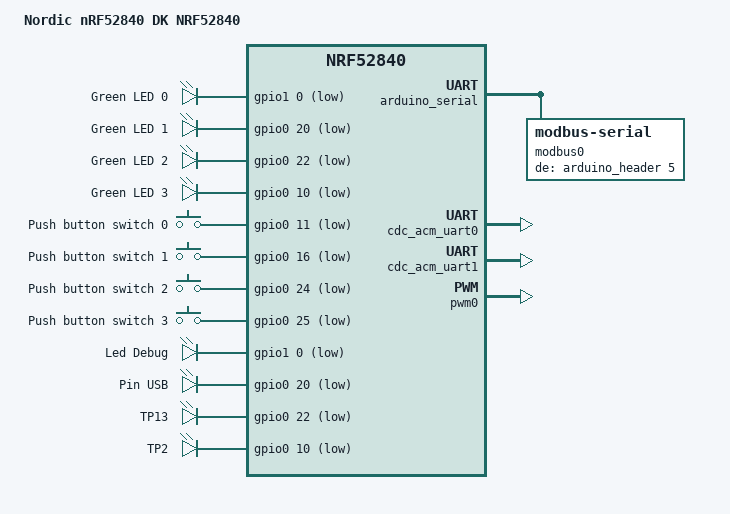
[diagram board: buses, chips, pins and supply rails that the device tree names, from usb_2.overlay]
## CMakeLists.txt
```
# SPDX-License-Identifier: Apache-2.0

cmake_minimum_required(VERSION 3.20.0)

set(DTC_OVERLAY_FILE "sca3504.overlay")
#project("SCA3504" VERSION 0.1)


find_package(Zephyr REQUIRED HINTS $ENV{ZEPHYR_BASE})
project(modbus-rtu-client)

FILE(GLOB app_sources src/*.c)
target_sources(app PRIVATE ${app_sources})
```

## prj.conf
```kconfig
CONFIG_LOG=y

CONFIG_GPIO=y
CONFIG_SERIAL=y
CONFIG_UART_INTERRUPT_DRIVEN=y
#CONFIG_UART_LINE_CTRL=n

CONFIG_MODBUS=y
CONFIG_MODBUS_ROLE_CLIENT=y

# Enable the UART driver
CONFIG_UART_ASYNC_API=y
CONFIG_UART_LINE_CTRL=y
CONFIG_UART_INTERRUPT_DRIVEN=y

# Disable the UARTE0 enabled in default project configuration
CONFIG_UART_NRFX=y

# uart MODBUS moteur
CONFIG_NRFX_UARTE0=y
# uart de debug
CONFIG_NRFX_UARTE1=y

CONFIG_PWM=y
CONFIG_LED=y

CONFIG_HEAP_MEM_POOL_SIZE=4096
CONFIG_MAIN_STACK_SIZE=2048

# Enable DK LED and Buttons library
CONFIG_DK_LIBRARY=y

# Config logger
CONFIG_LOG=y
#CONFIG_USE_SEGGER_RTT=y
#CONFIG_LOG_BACKEND_RTT=y
#CONFIG_ASSERT=y
CONFIG_LOG_BACKEND_UART=y


#USB related configs
CONFIG_USB_DEVICE_STACK=y
CONFIG_USB_DEVICE_HID=y
CONFIG_USB_DEVICE_PRODUCT="SCANCUBE-TURNTABLE-V3"
CONFIG_USB_DEVICE_VID=0x04b4
CONFIG_USB_DEVICE_PID=0xF14C
#CONFIG_USB_DEVICE_PID=0xF14D
CONFIG_USB_HID_BOOT_PROTOCOL=y
#CONFIG_USB_DEVICE_INITIALIZE_AT_BOOT=n
CONFIG_USB_NUMOF_EP_WRITE_RETRIES=10
CONFIG_USB_DEVICE_SOF=y

CONFIG_ENABLE_HID_INT_OUT_EP=y
CONFIG_USB_DRIVER_LOG_LEVEL_INF=y
#CONFIG_USB_DRIVER_LOG_LEVEL_ERR=y
CONFIG_USB_DEVICE_LOG_LEVEL_INF=y
#CONFIG_USB_DEVICE_LOG_LEVEL_ERR=y

# NVS
#CONFIG_FLASH=y
#CONFIG_FLASH_PAGE_LAYOUT=y

#CONFIG_NVS=y
#CONFIG_LOG_MODE_IMMEDIATE=y
#CONFIG_NVS_LOG_LEVEL_DBG=y
#CONFIG_REBOOT=y
#CONFIG_MPU_ALLOW_FLASH_WRITE=y

# bluetooth
CONFIG_BT=y
CONFIG_BT_CENTRAL=y
CONFIG_BT_SMP=y
CONFIG_BT_GATT_CLIENT=y

CONFIG_BT_BUF_ACL_RX_SIZE=255
CONFIG_BT_BUF_ACL_TX_SIZE=251
CONFIG_BT_BUF_CMD_TX_SIZE=255
CONFIG_BT_BUF_EVT_DISCARDABLE_SIZE=255

CONFIG_BT_L2CAP_TX_MTU=247

CONFIG_BT_DEBUG_LOG=y
CONFIG_BT_SCAN=y

CONFIG_BT_FILTER_ACCEPT_LIST=y

CONFIG_BT_SCAN_NAME_MAX_LEN=32
CONFIG_BT_SCAN_SHORT_NAME_MAX_LEN=32
CONFIG_BT_SCAN_FILTER_ENABLE=y
CONFIG_BT_SCAN_MANUFACTURER_DATA_MAX_LEN=32
CONFIG_BT_SCAN_UUID_CNT=1
CONFIG_BT_SCAN_NAME_CNT=1
CONFIG_BT_SCAN_SHORT_NAME_CNT=0
CONFIG_BT_SCAN_ADDRESS_CNT=0
CONFIG_BT_SCAN_APPEARANCE_CNT=0
CONFIG_BT_SCAN_MANUFACTURER_DATA_CNT=0


CONFIG_BOARD_ENABLE_DCDC=y
CONFIG_BOARD_ENABLE_DCDC_HV=y

CONFIG_BT_GATT_CLIENT=y
CONFIG_BT_GATT_DM=y

CONFIG_BT_HRS=y
CONFIG_BT_HRS_CLIENT=y


CONFIG_NCS_SAMPLES_DEFAULTS=y

CONFIG_BT=y
CONFIG_BT_PERIPHERAL=y
CONFIG_BT_CENTRAL=y
CONFIG_BT_MAX_CONN=2
CONFIG_BT_MAX_PAIRED=2

CONFIG_BT_SMP=y

CONFIG_BT_SCAN=y
CONFIG_BT_SCAN_FILTER_ENABLE=y
CONFIG_BT_SCAN_UUID_CNT=1

CONFIG_BT_GATT_CLIENT=y
CONFIG_BT_GATT_DM=y

CONFIG_BT_HRS=y
CONFIG_BT_HRS_CLIENT=y

#CONFIG_BT_SETTINGS=y
#CONFIG_FLASH=y
#CONFIG_FLASH_PAGE_LAYOUT=y
#CONFIG_FLASH_MAP=y
#CONFIG_NVS=y
#CONFIG_SETTINGS=y

#CONFIG_HEAP_MEM_POOL_SIZE=1024

#CONFIG_DK_LIBRARY=y
```

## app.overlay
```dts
/*
 * Copyright (c) 2020 Phytec Messtechnik GmbH
 *
 * SPDX-License-Identifier: Apache-2.0
 */

 / {
	model = "Nordic nRF52840 DK NRF52840";
	compatible = "nordic,nrf52840-dk-nrf52840";

	chosen {
		zephyr,console = &cdc_acm_uart0;
		nordic,nus-uart = &cdc_acm_uart0;
	};

	leds {
		compatible = "gpio-leds";
	    status = "okay";
		led0: led_0 {
			gpios = <&gpio1 0 GPIO_ACTIVE_LOW>;
			label = "LED DEBUG";
		};
		led1: led_1 {
			gpios = <&gpio0 29 GPIO_ACTIVE_LOW>;
			label = "LED USB";
		};
	};

	buttons {
		compatible = "gpio-keys";
		button0: button_0 {
			gpios = <&gpio0 13 (GPIO_PULL_UP | GPIO_ACTIVE_LOW)>;
			label = "Push button SHUTTER";
		};
		button1: button_1 {
			gpios = <&gpio0 15 (GPIO_PULL_UP | GPIO_ACTIVE_LOW)>;
			label = "Push button FOCUS";
		};
	};

	aliases {
        led0 = &led0;
        led1 = &led1;
		sw0 = &button0;
		sw1 = &button1;
    };

};

&arduino_serial {
	compatible = "nordic,nrf-uarte";
	pinctrl-0 = <&uart1_default>;
	pinctrl-1 = <&uart1_sleep>;
	status = "okay";

	modbus0 {
		compatible = "zephyr,modbus-serial";
		status = "okay";
		de-gpios = <&arduino_header 5 GPIO_ACTIVE_HIGH>;	/* A5 */
	};
};

&uart1_default {
	group1 {
		psels = <NRF_PSEL(UART_RX, 1, 9)>;
	};
	group2 {
		psels = <NRF_PSEL(UART_TX, 0, 12)>;
	};
};

&uart1_sleep {
	group1 {
		psels = <NRF_PSEL(UART_RX, 1, 1)>,
		<NRF_PSEL(UART_RX, 1, 2)>;
	};
};

&pwm0 {
	compatible = "nordic,nrf-pwm";
	status = "okay";
	#pwm-cells = < 3 >;
	pinctrl-0 = <&pwm0_default>;

};

&pwm0_default {
	group1 {
		psels = <NRF_PSEL(PWM_OUT0, 0, 24)>;
		nordic,invert;
	};
	group2 {
		psels = <NRF_PSEL(PWM_OUT0, 0, 24)>;
		nordic,invert;
	};
};

&zephyr_udc0 {
	cdc_acm_uart0: cdc_acm_uart0 {
		compatible = "zephyr,cdc-acm-uart";
	};
};
```

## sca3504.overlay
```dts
/*
 * Copyright (c) 2020 Phytec Messtechnik GmbH
 *
 * SPDX-License-Identifier: Apache-2.0
 */

 / {
	model = "Nordic nRF52840 DK NRF52840";
	compatible = "nordic,nrf52840-dk-nrf52840";

	chosen {
		zephyr,console = &uart0;
	};

	leds {
		compatible = "gpio-leds";
		led0: led_0 {
			gpios = <&gpio1 0 GPIO_ACTIVE_LOW>;
			label = "Led Debug";
		};
		led1: led_1 {
			gpios = <&gpio0 20 GPIO_ACTIVE_LOW>;
			label = "Pin USB";
		};
		led2: led_2 {
			gpios = <&gpio0 22 GPIO_ACTIVE_LOW>;
			label = "TP13";
		};
		led3: led_3 {
			gpios = <&gpio0 10 GPIO_ACTIVE_LOW>;
			label = "TP2";
		};
	};

	buttons {
		compatible = "gpio-keys";
		button0: button_0 {
			gpios = <&gpio0 11 (GPIO_PULL_UP | GPIO_ACTIVE_LOW)>;
			label = "Push button switch 0";
		};
		button1: button_1 {
			gpios = <&gpio0 16 (GPIO_PULL_UP | GPIO_ACTIVE_LOW)>;
			label = "Push button switch 1";
		};
		button2: button_2 {
			gpios = <&gpio0 24 (GPIO_PULL_UP | GPIO_ACTIVE_LOW)>;
			label = "Push button switch 2";
		};
		button3: button_3 {
			gpios = <&gpio0 25 (GPIO_PULL_UP | GPIO_ACTIVE_LOW)>;
			label = "Push button switch 3";
		};
	};
	
	pwmleds {
		compatible = "pwm-leds";
		pwm_led0: pwm_led_0 {
			pwms = <&pwm0 0 PWM_KHZ(50) PWM_POLARITY_NORMAL>;
		};
	};

	/* These aliases are provided for compatibility with samples */
	aliases {
		led0 = &led0;
		led1 = &led1;
		led2 = &led2;
		led3 = &led3;
		pwm-led0 = &pwm_led0;
		sw0 = &button0;
		sw1 = &button1;
		sw2 = &button2;
		sw3 = &button3;
	};
};

&arduino_serial {
	compatible = "nordic,nrf-uarte";
	pinctrl-0 = <&uart1_default>;
	pinctrl-1 = <&uart1_sleep>;
	status = "okay";

	modbus0 {
		compatible = "zephyr,modbus-serial";
		status = "okay";
		de-gpios = <&arduino_header 5 GPIO_ACTIVE_HIGH>;	/* A5 */
	};
};

&zephyr_udc0 {
	cdc_acm_uart0 {
		compatible = "zephyr,cdc-acm-uart";
	};

	cdc_acm_uart1 {
		compatible = "zephyr,cdc-acm-uart";
	};
};


&pwm0 {
	compatible = "nordic,nrf-pwm";
	status = "okay";
	#pwm-cells = < 3 >;
	pinctrl-0 = <&pwm0_default>;
};

&pwm0_default {
	group1 {
		psels = <NRF_PSEL(PWM_OUT0, 0, 24)>;
		nordic,invert;
	};
	group2 {
		psels = <NRF_PSEL(PWM_OUT0, 0, 24)>;
		nordic,invert;
	};
};

&uart0 {
	compatible = "nordic,nrf-uarte";
	status = "okay";
	current-speed = <115200>;
	pinctrl-0 = <&uart0_default>;
	pinctrl-1 = <&uart0_sleep>;
	pinctrl-names = "default", "sleep";
};

&uart0_default {
	group1 {
			psels = <NRF_PSEL(UART_TX, 0, 4)>;
	};

	group2 {
			psels = <NRF_PSEL(UART_RX, 0, 6)>;
			bias-pull-up;
	};

};

&uart0_sleep {
	group1 {
			psels = <NRF_PSEL(UART_TX, 0, 4)>,
					<NRF_PSEL(UART_RX, 0, 6)>;
			low-power-enable;
	};

};

&uart1_default {
	group1 {
		psels = <NRF_PSEL(UART_RX, 1, 9)>;
		bias-pull-up;
	};
	group2 {
		psels = <NRF_PSEL(UART_TX, 0, 12)>;
	};
};

&uart1_sleep {
	group1 {
		psels = <NRF_PSEL(UART_RX, 1, 9)>,
		        <NRF_PSEL(UART_TX, 0, 12)>;
	};
};
```

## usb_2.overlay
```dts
/*
 * Copyright (c) 2020 Phytec Messtechnik GmbH
 *
 * SPDX-License-Identifier: Apache-2.0
 */

&arduino_serial {
	pinctrl-0 = <&uart1_default>;
	status = "okay";

	modbus0 {
		compatible = "zephyr,modbus-serial";
		status = "okay";
		de-gpios = <&arduino_header 31 GPIO_ACTIVE_LOW>;	/* D9 */
	};
};

&zephyr_udc0 {
	cdc_acm_uart0 {
		compatible = "zephyr,cdc-acm-uart";
	};

	cdc_acm_uart1 {
		compatible = "zephyr,cdc-acm-uart";
	};
};

&pwm0 {
	compatible = "nordic,nrf-pwm";
	status = "okay";
	#pwm-cells = < 3 >;
	pinctrl-0 = <&pwm0_default>;

};

&pwm0_default {
	group1 {
		psels = <NRF_PSEL(PWM_OUT0, 0, 24)>;
		nordic,invert;
	};
	group2 {
		psels = <NRF_PSEL(PWM_OUT0, 0, 24)>;
		nordic,invert;
	};

	
};

&uart1_default {
	group1 {
		psels = <NRF_PSEL(UART_RX, 1, 9)>;
		bias-pull-up;
	};
	group2 {
		psels = <NRF_PSEL(UART_TX, 0, 12)>;
	};

	
};


&leds {
	compatible = "gpio-leds";
	led0: led_0 {
		gpios = <&gpio1 0 GPIO_ACTIVE_LOW>;
		label = "Led Debug";
	};
	led1: led_1 {
		gpios = <&gpio0 20 GPIO_ACTIVE_LOW>;
		label = "Pin USB";
	};
	led2: led_2 {
		gpios = <&gpio0 22 GPIO_ACTIVE_LOW>;
		label = "TP13";
	};
	led3: led_3 {
		gpios = <&gpio0 10 GPIO_ACTIVE_LOW>;
		label = "TP2";
	};
};

&aliases {
	led0 = &led0;
	led1 = &led1;
	led2 = &led2;
	led3 = &led3;
};

-----------------------------------


/*
 * Copyright (c) 2020 Phytec Messtechnik GmbH
 *
 * SPDX-License-Identifier: Apache-2.0
 */

 / {
	model = "Nordic nRF52840 DK NRF52840";
	compatible = "nordic,nrf52840-dk-nrf52840";
	
	leds {
		compatible = "gpio-leds";
		led0: led_0 {
			gpios = <&gpio1 0 GPIO_ACTIVE_LOW>;
			label = "Green LED 0";
		};
		led1: led_1 {
			gpios = <&gpio0 20 GPIO_ACTIVE_LOW>;
			label = "Green LED 1";
		};
		led2: led_2 {
			gpios = <&gpio0 22 GPIO_ACTIVE_LOW>;
			label = "Green LED 2";
		};
		led3: led_3 {
			gpios = <&gpio0 10 GPIO_ACTIVE_LOW>;
			label = "Green LED 3";
		};
	};

	buttons {
		compatible = "gpio-keys";
		button0: button_0 {
			gpios = <&gpio0 11 (GPIO_PULL_UP | GPIO_ACTIVE_LOW)>;
			label = "Push button switch 0";
		};
		button1: button_1 {
			gpios = <&gpio0 16 (GPIO_PULL_UP | GPIO_ACTIVE_LOW)>;
			label = "Push button switch 1";
		};
		button2: button_2 {
			gpios = <&gpio0 24 (GPIO_PULL_UP | GPIO_ACTIVE_LOW)>;
			label = "Push button switch 2";
		};
		button3: button_3 {
			gpios = <&gpio0 25 (GPIO_PULL_UP | GPIO_ACTIVE_LOW)>;
			label = "Push button switch 3";
		};
	};

	/* These aliases are provided for compatibility with samples */
	aliases {
		led0 = &led0;
		led1 = &led1;
		led2 = &led2;
		led3 = &led3;
		sw0 = &button0;
		sw1 = &button1;
		sw2 = &button2;
		sw3 = &button3;
	};
};

&arduino_serial {
	compatible = "nordic,nrf-uarte";
	pinctrl-0 = <&uart1_default>;
	pinctrl-1 = <&uart1_sleep>;
	status = "okay";

	modbus0 {
		compatible = "zephyr,modbus-serial";
		status = "okay";
		de-gpios = <&arduino_header 5 GPIO_ACTIVE_HIGH>;	/* A5 */
	};
};

&zephyr_udc0 {
	cdc_acm_uart0 {
		compatible = "zephyr,cdc-acm-uart";
	};

	cdc_acm_uart1 {
		compatible = "zephyr,cdc-acm-uart";
	};
};

&pwm0 {
	compatible = "nordic,nrf-pwm";
	status = "okay";
	#pwm-cells = < 3 >;
	pinctrl-0 = <&pwm0_default>;

};

&pwm0_default {
	group1 {
		psels = <NRF_PSEL(PWM_OUT0, 0, 24)>;
		nordic,invert;
	};
	group2 {
		psels = <NRF_PSEL(PWM_OUT0, 0, 24)>;
		nordic,invert;
	};
};

&uart1_default {
	group1 {
		psels = <NRF_PSEL(UART_RX, 1, 9)>;
	};
	group2 {
		psels = <NRF_PSEL(UART_TX, 0, 12)>;
	};
};

&uart1_sleep {
	group1 {
		psels = <NRF_PSEL(UART_RX, 1, 1)>,
		<NRF_PSEL(UART_RX, 1, 2)>;
	};
};
```

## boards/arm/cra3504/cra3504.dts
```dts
// Copyright (c) 2023 Nordic Semiconductor ASA
// SPDX-License-Identifier: Apache-2.0

/dts-v1/;
#include <nordic/nrf52840_qiaa.dtsi>

/ {
	model = "CRA3504";
	compatible = "stilec,cra3504";

	chosen {
		zephyr,sram = &sram0;
		zephyr,flash = &flash0;
		zephyr,code-partition = &slot0_partition;
	};
};

&flash0 {
	partitions {
		compatible = "fixed-partitions";
		#address-cells = <1>;
		#size-cells = <1>;

		boot_partition: partition@0 {
			label = "mcuboot";
			reg = <0x0 0xc000>;
		};
		slot0_partition: partition@c000 {
			label = "image-0";
			reg = <0xc000 0x72000>;
		};
		slot1_partition: partition@7e000 {
			label = "image-1";
			reg = <0x7e000 0x72000>;
		};
		scratch_partition: partition@f0000 {
			label = "image-scratch";
			reg = <0xf0000 0xa000>;
		};
		storage_partition: partition@fa000 {
			label = "storage";
			reg = <0xfa000 0x6000>;
		};
	};
};
```

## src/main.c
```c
/*
 * Copyright (c) 2016-2018 Intel Corporation.
 * Copyright (c) 2018-2021 Nordic Semiconductor ASA
 *
 * SPDX-License-Identifier: Apache-2.0
 */

#include <zephyr/kernel.h>
#include <zephyr/init.h>

#include <zephyr/usb/usb_device.h>
#include <zephyr/usb/class/usb_hid.h>

#define LOG_LEVEL LOG_LEVEL_DBG
LOG_MODULE_REGISTER(main);

static bool configured;
static const struct device *hdev;
static struct k_work report_send;
static ATOMIC_DEFINE(hid_ep_in_busy, 1);

#define HID_EP_BUSY_FLAG	0
#define REPORT_ID_1		0x01
#define REPORT_PERIOD		K_SECONDS(2)

static struct report {
	uint8_t value[32];
} __packed report_1;

static void report_event_handler(struct k_timer *dummy);
static K_TIMER_DEFINE(event_timer, report_event_handler, NULL);

/*
 * Simple HID Report Descriptor
 * Report ID is present for completeness, although it can be omitted.
 * Output of "usbhid-dump -d 2fe3:0006 -e descriptor":
 *  05 01 09 00 A1 01 15 00    26 FF 00 85 01 75 08 95
 *  01 09 00 81 02 C0
 */
static const uint8_t hid_report_desc[] = {
//	HID_USAGE_PAGE(0xFF00),
	0x06, 0x00, 0xFF, // USAGE_PAGE(Vendor-Defined) => 06 00 FF n'existe pas dans ZEPYR
	HID_USAGE(HID_USAGE_GEN_DESKTOP_POINTER),
	HID_COLLECTION(HID_COLLECTION_APPLICATION),
		HID_USAGE_MIN8(1),
		HID_USAGE_MAX8(32),
		HID_LOGICAL_MIN8(1),
		HID_LOGICAL_MAX16(0xFF, 0x00),
		HID_REPORT_SIZE(8),
		HID_REPORT_COUNT(32),
		HID_OUTPUT(0x02),

		HID_USAGE_MIN8(1),
		HID_USAGE_MAX8(32),
		HID_LOGICAL_MIN8(0),
		HID_LOGICAL_MAX16(0xFF, 0x00),
		HID_REPORT_SIZE(8),
		HID_REPORT_COUNT(32),
		HID_INPUT(0x02),

	HID_END_COLLECTION,
};
volatile uint8_t bufferIn[32];
volatile uint32_t byteRead;

static void send_report(struct k_work *work)
{
	int ret, wrote;
		// ret = hid_int_ep_read(hdev, (uint8_t *)&bufferIn,
		// 		       sizeof(bufferIn), &byteRead);
		// if (ret != 0) {
		// 	/*
		// 	 * Do nothing and wait until host has reset the device
		// 	 * and hid_ep_in_busy is cleared.
		// 	 */
		// 	LOG_ERR("OUT Failed to read report");
		// } else {
		// 	LOG_DBG("OUT Report read %d %d %d", bufferIn[0], bufferIn[1], bufferIn[2]);
		// }


	if (!atomic_test_and_set_bit(hid_ep_in_busy, HID_EP_BUSY_FLAG)) {
		ret = hid_int_ep_write(hdev, (uint8_t *)&report_1,
				       sizeof(report_1), &wrote);
		if (ret != 0) {
			/*
			 * Do nothing and wait until host has reset the device
			 * and hid_ep_in_busy is cleared.
			 */
			LOG_ERR("Failed to submit report");
		} else {
			LOG_DBG("Report submitted");
		}
	} else {
		LOG_DBG("HID IN endpoint busy");
	}
}

static void int_in_ready_cb(const struct device *dev)
{
	ARG_UNUSED(dev);
	if (!atomic_test_and_clear_bit(hid_ep_in_busy, HID_EP_BUSY_FLAG)) {
		LOG_WRN("IN endpoint callback without preceding buffer write");
	}
}

static void int_out_ready_cb(const struct device *dev)
{
	int ret;
	ARG_UNUSED(dev);
		ret = hid_int_ep_read(hdev, (uint8_t *)&bufferIn,
				       sizeof(bufferIn), &byteRead);
		if (ret != 0) {
			/*
			 * Do nothing and wait until host has reset the device
			 * and hid_ep_in_busy is cleared.
			 */
			LOG_ERR("int_OUT Failed to read report");
		} else {
			LOG_DBG("int_OUT Report read:%d [%d %d %d]", byteRead, bufferIn[0], bufferIn[1], bufferIn[2]);
		}

//	if (!atomic_test_and_clear_bit(hid_ep_in_busy, HID_EP_BUSY_FLAG)) {
		// LOG_WRN("OUT endpoint callback without preceding buffer write");
//	}
}

/*
 * On Idle callback is available here as an example even if actual use is
 * very limited. In contrast to report_event_handler(),
 * report value is not incremented here.
 */
static void on_idle_cb(const struct device *dev, uint16_t report_id)
{
	LOG_DBG("On idle callback");
	k_work_submit(&report_send);
}

static void report_event_handler(struct k_timer *dummy)
{
	/* Increment reported data */
	report_1.value[0]++;
	k_work_submit(&report_send);
}

static void protocol_cb(const struct device *dev, uint8_t protocol)
{
	LOG_INF("New protocol: %s", protocol == HID_PROTOCOL_BOOT ?
		"boot" : "report");
}

static const struct hid_ops ops = {
	.int_in_ready = int_in_ready_cb,
#ifdef CONFIG_ENABLE_HID_INT_OUT_EP
	.int_out_ready = int_out_ready_cb,
#endif
	.on_idle = on_idle_cb,
	.protocol_change = protocol_cb,
};

static void status_cb(enum usb_dc_status_code status, const uint8_t *param)
{
	switch (status) {
	case USB_DC_RESET:
		configured = false;
		break;
	case USB_DC_CONFIGURED:
		if (!configured) {
			int_in_ready_cb(hdev);
			configured = true;
		}
		break;
	case USB_DC_SOF:
//		LOG_DBG("new trame receive");
		break;
	default:
		LOG_DBG("status %u unhandled", status);
		break;
	}
}

void usb_main(void)
{
	int ret;

	LOG_INF("Starting application");

	ret = usb_enable(status_cb);
	if (ret != 0) {
		LOG_ERR("Failed to enable USB");
		return;
	}

	k_work_init(&report_send, send_report);
}

static int composite_pre_init(const struct device *dev)
{
	hdev = device_get_binding("HID_0");
	if (hdev == NULL) {
		LOG_ERR("Cannot get USB HID Device");
		return -ENODEV;
	}

	LOG_INF("HID Device: dev %p", hdev);

	usb_hid_register_device(hdev, hid_report_desc, sizeof(hid_report_desc),
				&ops);

	atomic_set_bit(hid_ep_in_busy, HID_EP_BUSY_FLAG);
	k_timer_start(&event_timer, REPORT_PERIOD, REPORT_PERIOD);

	if (usb_hid_set_proto_code(hdev, HID_BOOT_IFACE_CODE_NONE)) {
		LOG_WRN("Failed to set Protocol Code");
	}

	return usb_hid_init(hdev);
}

SYS_INIT(composite_pre_init, APPLICATION, CONFIG_KERNEL_INIT_PRIORITY_DEVICE);


/* size of stack area used by each thread */
#define STACKSIZE 1024
/* scheduling priority used by each thread */
#define PRIORITY 7
	
K_THREAD_DEFINE(usb_main_id, STACKSIZE, usb_main, NULL, NULL, NULL, PRIORITY, 0, 0);
```

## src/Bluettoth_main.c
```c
/*
 * Copyright (c) 2018 Nordic Semiconductor ASA
 *
 * SPDX-License-Identifier: LicenseRef-Nordic-5-Clause
 */

/** @file
 *  @brief Nordic UART Bridge Service (NUS) sample
 */

#include <zephyr/kernel.h>
#include <zephyr/sys/printk.h>

#include <zephyr/bluetooth/bluetooth.h>
#include <zephyr/bluetooth/conn.h>
#include <zephyr/bluetooth/gatt.h>
#include <bluetooth/scan.h>

#include <zephyr/logging/log.h>

#define LOG_MODULE_NAME bluetooth_main
LOG_MODULE_REGISTER(LOG_MODULE_NAME);

#define STACKSIZE 1024
#define PRIORITY 7

extern struct bt_conn *conn_connected;
extern void (*start_scan_func)(void);
extern int write_cmd(struct bt_conn *conn);

static void scan_filter_match(struct bt_scan_device_info *device_info,
			      struct bt_scan_filter_match *filter_match,
			      bool connectable)
{
	char addr[BT_ADDR_LE_STR_LEN];

	bt_addr_le_to_str(device_info->recv_info->addr, addr, sizeof(addr));
	LOG_INF("Filters matched. Connected %s", addr);
}

static void scan_connecting_error(struct bt_scan_device_info *device_info)
{
	LOG_ERR("Connecting failed");
}
static struct bt_conn *default_conn;
static void scan_connecting(struct bt_scan_device_info *device_info,
			    struct bt_conn *conn)
{
	default_conn = bt_conn_ref(conn);
}


BT_SCAN_CB_INIT(scan_cb, scan_filter_match, NULL,
		scan_connecting_error, scan_connecting);

const char bleDeviceName[]="SCANCUBE-SCA3512";
static void start_scan(void)
{
	int err;
	
	struct bt_scan_init_param scan_init = {
		.connect_if_match = 1,
	};

	bt_scan_init(&scan_init);
	bt_scan_cb_register(&scan_cb);

	err = bt_scan_filter_add(BT_SCAN_FILTER_TYPE_NAME, bleDeviceName);
    if (err) {
        LOG_ERR("Scanning filters cannot be add (%d)", err);
        return;
    }
	err = bt_scan_filter_enable(BT_SCAN_NAME_FILTER, false);
    if (err) {
        LOG_ERR("Scanning filters cannot be enable (%d)", err);
        return;
    }

	err = bt_scan_start(BT_SCAN_TYPE_SCAN_ACTIVE);
	if (err) {
		LOG_ERR("%s: Scanning failed to start (err %d)", __func__,
		       err);
		return;
	}

	LOG_INF("%s: Scanning successfully started\n", __func__);
}

void mtu_updated(struct bt_conn *conn, uint16_t tx, uint16_t rx)
{
	LOG_INF("Updated MTU: TX: %d RX: %d bytes", tx, rx);
}

static struct bt_gatt_cb gatt_callbacks = {
	.att_mtu_updated = mtu_updated
};

void bluetooth_main(void)
{
	int err;
	uint32_t count = 10;

	err = bt_enable(NULL);
	if (err) {
		LOG_ERR("Bluetooth init failed (err %d)\n", err);
		while (1)
		{
			k_sleep(K_SECONDS(1));
		}
		
	}
	LOG_INF("Bluetooth initialized\n");

	bt_gatt_cb_register(&gatt_callbacks);

	conn_connected = NULL;

	start_scan_func = start_scan;
	start_scan_func();

	struct bt_conn *conn;
	k_sleep(K_SECONDS(10));


	while (true) {
///		conn = NULL;

		if (conn_connected) {
			/* Get a connection reference to ensure that a
			 * reference is maintained in case disconnected
			 * callback is called while we perform GATT Write
			 * command.
			 */
			conn = bt_conn_ref(conn_connected);
		}

		if (conn) {
			(void)write_cmd(conn);
			bt_conn_unref(conn);

			if (count) {
				count--;
				if (!count) {
					break;
				}
			}

			k_yield();
		} else {
			k_sleep(K_SECONDS(1));
		}
	}
}

K_THREAD_DEFINE(bluetooth_main_id, STACKSIZE, bluetooth_main, NULL, NULL, NULL, PRIORITY, 0, 0);
```

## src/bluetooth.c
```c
/*
 * Copyright (c) 2021 Nordic Semiconductor ASA
 *
 * SPDX-License-Identifier: LicenseRef-Nordic-5-Clause
 */

#include <zephyr/bluetooth/bluetooth.h>
#include <zephyr/bluetooth/conn.h>
#include <zephyr/bluetooth/uuid.h>
#include <zephyr/bluetooth/gatt.h>
#include <bluetooth/gatt_dm.h>
#include <bluetooth/scan.h>

#include <zephyr/bluetooth/services/bas.h>
#include <zephyr/bluetooth/services/hrs.h>
#include <bluetooth/services/hrs_client.h>

#include <zephyr/settings/settings.h>

#include <zephyr/kernel.h>

#define STACKSIZE 1024
#define PRIORITY 7


#define RUN_LED_BLINK_INTERVAL 1000

#define HRS_QUEUE_SIZE 16

static const struct bt_data ad[] = {
	BT_DATA_BYTES(BT_DATA_GAP_APPEARANCE,
		(CONFIG_BT_DEVICE_APPEARANCE >> 0) & 0xff,
		(CONFIG_BT_DEVICE_APPEARANCE >> 8) & 0xff),
	BT_DATA_BYTES(BT_DATA_FLAGS, (BT_LE_AD_GENERAL | BT_LE_AD_NO_BREDR)),
	BT_DATA_BYTES(BT_DATA_UUID16_ALL,
		      BT_UUID_16_ENCODE(BT_UUID_HRS_VAL)), /* Heart Rate Service */
};

static const struct bt_data sd[] = {
	BT_DATA_BYTES(BT_DATA_NAME_COMPLETE, CONFIG_BT_DEVICE_NAME)
};

K_MSGQ_DEFINE(hrs_queue, sizeof(struct bt_hrs_client_measurement), HRS_QUEUE_SIZE, 4);

static struct bt_hrs_client hrs_c;
static struct bt_conn *central_conn;

static const char * const sensor_location_str[] = {
	"Other",
	"Chest",
	"Wrist",
	"Finger",
	"Hand",
	"Ear lobe",
	"Foot"
};

static void hrs_sensor_location_read_cb(struct bt_hrs_client *hrs_c,
					enum bt_hrs_client_sensor_location location,
					int err)
{
	if (err) {
		printk("HRS Sensor Body Location read error (err %d)\n", err);
		return;
	}

	printk("Heart Rate Sensor body location: %s\n", sensor_location_str[location]);
}

static void hrs_measurement_notify_cb(struct bt_hrs_client *hrs_c,
				      const struct bt_hrs_client_measurement *meas,
				      int err)
{
	if (err) {
		printk("Error during receiving Heart Rate Measurement notification, err: %d\n",
			err);
		return;
	}

	printk("Heart Rate Measurement notification received:\n\n");
	printk("\tHeart Rate Measurement Value Format: %s\n",
		meas->flags.value_format ? "16 - bit" : "8 - bit");
	printk("\tSensor Contact detected: %d\n", meas->flags.sensor_contact_detected);
	printk("\tSensor Contact supported: %d\n", meas->flags.sensor_contact_supported);
	printk("\tEnergy Expended present: %d\n", meas->flags.energy_expended_present);
	printk("\tRR-Intervals present: %d\n", meas->flags.rr_intervals_present);

	printk("\n\tHeart Rate Measurement Value: %d bpm\n", meas->hr_value);

	if (meas->flags.energy_expended_present) {
		printk("\n\tEnergy Expended: %d J\n", meas->energy_expended);
	}

	if (meas->flags.rr_intervals_present) {
		printk("\t RR-intervals: ");
		for (size_t i = 0; i < meas->rr_intervals_count; i++) {
			printk("%d ", meas->rr_intervals[i]);
		}
	}

	printk("\n");

	err = k_msgq_put(&hrs_queue, meas, K_NO_WAIT);
	if (err) {
		printk("Notification queue is full. Discarting HRS notification (err %d)\n", err);
	}
}

static void discovery_completed_cb(struct bt_gatt_dm *dm,
				   void *context)
{
	int err;

	printk("The discovery procedure succeeded\n");

	bt_gatt_dm_data_print(dm);

	err = bt_hrs_client_handles_assign(dm, &hrs_c);
	if (err) {
		printk("Could not init HRS client object (err %d)\n", err);
		return;
	}

	err = bt_hrs_client_sensor_location_read(&hrs_c, hrs_sensor_location_read_cb);
	if (err) {
		printk("Could not read Heart Rate Sensor location (err %d)\n", err);
	}

	err = bt_hrs_client_measurement_subscribe(&hrs_c, hrs_measurement_notify_cb);
	if (err) {
		printk("Could not subscribe to Heart Rate Measurement characteristic (err %d)\n",
		       err);
	}

	err = bt_gatt_dm_data_release(dm);
	if (err) {
		printk("Could not release the discovery data (err %d)\n", err);
	}
}

static void discovery_not_found_cb(struct bt_conn *conn,
				   void *context)
{
	printk("Heart Rate Service could not be found during the discovery\n");
}

static void discovery_error_found_cb(struct bt_conn *conn,
				     int err, void *context)
{
	printk("The discovery procedure failed with %d\n", err);
}

static const struct bt_gatt_dm_cb discovery_cb = {
	.completed = discovery_completed_cb,
	.service_not_found = discovery_not_found_cb,
	.error_found = discovery_error_found_cb
};

static void gatt_discover(struct bt_conn *conn)
{
	int err;

	err = bt_gatt_dm_start(conn, BT_UUID_HRS, &discovery_cb, NULL);
	if (err) {
		printk("Could not start the discovery procedure, error "
			   "code: %d\n", err);
	}
}

static void auth_cancel(struct bt_conn *conn)
{
	char addr[BT_ADDR_LE_STR_LEN];

	bt_addr_le_to_str(bt_conn_get_dst(conn), addr, sizeof(addr));

	printk("Pairing cancelled: %s\n", addr);
}

static void pairing_complete(struct bt_conn *conn, bool bonded)
{
	char addr[BT_ADDR_LE_STR_LEN];

	bt_addr_le_to_str(bt_conn_get_dst(conn), addr, sizeof(addr));

	printk("Pairing completed: %s, bonded: %d\n", addr, bonded);
}

static void pairing_failed(struct bt_conn *conn, enum bt_security_err reason)
{
	char addr[BT_ADDR_LE_STR_LEN];

	bt_addr_le_to_str(bt_conn_get_dst(conn), addr, sizeof(addr));

	printk("Pairing failed conn: %s, reason %d\n", addr, reason);
}

static const struct bt_conn_auth_cb auth_callbacks = {
	.cancel = auth_cancel
};

static struct bt_conn_auth_info_cb conn_auth_info_callbacks = {
	.pairing_complete = pairing_complete,
	.pairing_failed = pairing_failed
};

static int scan_start(void)
{
	int err = bt_scan_start(BT_SCAN_TYPE_SCAN_PASSIVE);

	if (err) {
		printk("Scanning failed to start (err %d)\n", err);
	}

	return err;
}

static void connected(struct bt_conn *conn, uint8_t conn_err)
{
	int err;
	struct bt_conn_info info;
	char addr[BT_ADDR_LE_STR_LEN];

	bt_addr_le_to_str(bt_conn_get_dst(conn), addr, sizeof(addr));

	if (conn_err) {
		printk("Failed to connect to %s (%u)\n", addr, conn_err);

		if (conn == central_conn) {
			bt_conn_unref(central_conn);
			central_conn = NULL;

			scan_start();
		}

		return;
	}

	printk("Connected: %s\n", addr);

	bt_conn_get_info(conn, &info);

	if (info.role == BT_CONN_ROLE_CENTRAL) {

		err = bt_conn_set_security(conn, BT_SECURITY_L2);
		if (err) {
			printk("Failed to set security (err %d)\n", err);

			gatt_discover(conn);
		}
	} else {
	}
}

static void disconnected(struct bt_conn *conn, uint8_t reason)
{
	char addr[BT_ADDR_LE_STR_LEN];

	bt_addr_le_to_str(bt_conn_get_dst(conn), addr, sizeof(addr));

	printk("Disconnected: %s (reason %u)\n", addr, reason);

	if (conn == central_conn) {

		bt_conn_unref(central_conn);
		central_conn = NULL;

		scan_start();
	} else {
	}
}

static void security_changed(struct bt_conn *conn, bt_security_t level,
			     enum bt_security_err err)
{
	char addr[BT_ADDR_LE_STR_LEN];

	bt_addr_le_to_str(bt_conn_get_dst(conn), addr, sizeof(addr));

	if (!err) {
		printk("Security changed: %s level %u\n", addr, level);
	} else {
		printk("Security failed: %s level %u err %d\n", addr, level,
			err);
	}

	if (conn == central_conn) {
		gatt_discover(conn);
	}
}

BT_CONN_CB_DEFINE(conn_callbacks) = {
	.connected = connected,
	.disconnected = disconnected,
	.security_changed = security_changed
};

static void scan_filter_match(struct bt_scan_device_info *device_info,
			      struct bt_scan_filter_match *filter_match,
			      bool connectable)
{
	char addr[BT_ADDR_LE_STR_LEN];

	bt_addr_le_to_str(device_info->recv_info->addr, addr, sizeof(addr));

	printk("Filters matched. Address: %s connectable: %d\n",
		   addr, connectable);
}

static void scan_connecting_error(struct bt_scan_device_info *device_info)
{
	printk("Connecting failed\n");
}

static void scan_connecting(struct bt_scan_device_info *device_info,
			    struct bt_conn *conn)
{
	central_conn = bt_conn_ref(conn);
}

BT_SCAN_CB_INIT(scan_cb, scan_filter_match, NULL,
		scan_connecting_error, scan_connecting);

static void scan_init(void)
{
	int err;

	struct bt_scan_init_param param = {
		.scan_param = NULL,
		.conn_param = BT_LE_CONN_PARAM_DEFAULT,
		.connect_if_match = 1
	};

	bt_scan_init(&param);
	bt_scan_cb_register(&scan_cb);

	err = bt_scan_filter_add(BT_SCAN_FILTER_TYPE_UUID, BT_UUID_HRS);
	if (err) {
		printk("Scanning filters cannot be set (err %d)\n", err);
	}

	err = bt_scan_filter_enable(BT_SCAN_UUID_FILTER, false);
	if (err) {
		printk("Filters cannot be turned on (err %d)\n", err);
	}
}

static void hrs_notify_thread(void)
{
	struct bt_hrs_client_measurement meas;
	uint16_t heart_rate;

	while (1) {
		k_msgq_get(&hrs_queue, &meas, K_FOREVER);

		if (meas.flags.value_format) {
			heart_rate = (uint8_t)(meas.hr_value >> 0x08);
		} else {
			heart_rate = meas.hr_value;
		}

		bt_hrs_notify(heart_rate);
	}
}

void bluetooth_main(void)
{
	int err;
	int blink_status = 0;

	printk("Starting Bluetooth Central and Peripheral Heart Rate relay example\n");

	err = bt_conn_auth_cb_register(&auth_callbacks);
	if (err) {
		printk("Failed to register authorization callbacks.\n");
		return;
	}

	err = bt_conn_auth_info_cb_register(&conn_auth_info_callbacks);
	if (err) {
		printk("Failed to register authorization info callbacks.\n");
		return;
	}

	err = bt_enable(NULL);
	if (err) {
		return;
	}

	if (IS_ENABLED(CONFIG_SETTINGS)) {
		settings_load();
	}

	err = bt_hrs_client_init(&hrs_c);
	if (err) {
		printk("Heart Rate Service client failed to init (err %d)\n", err);
		return;
	}

	scan_init();

	err = scan_start();
	if (err) {
		return;
	}

	printk("Scanning started\n");

	err = bt_le_adv_start(BT_LE_ADV_CONN, ad, ARRAY_SIZE(ad),
			      sd, ARRAY_SIZE(sd));
	if (err) {
		printk("Advertising failed to start (err %d)\n", err);
		return;
	}

	printk("Advertising started\n");

	for (;;) {
		k_sleep(K_MSEC(RUN_LED_BLINK_INTERVAL));
	}
}

// K_THREAD_DEFINE(hrs_notify_thread_id, STACKSIZE, hrs_notify_thread,
// 		NULL, NULL, NULL, PRIORITY, 0, 0);

//K_THREAD_DEFINE(bluetooth_main_id, STACKSIZE, bluetooth_main, NULL, NULL, NULL, PRIORITY, 0, 0);
```

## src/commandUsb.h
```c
#ifndef _COMMANDUSB_H
#define _COMMANDUSB_H

#include <stdint.h>

//-----------------------------------------|
//                                         |
//                Motor tuning              |
//                                         |
//-----------------------------------------|
#define RampWidthRatio 30 // %
#define RampWidthUpMax 450
#define RampWidthDnMax (RampWidthUpMax * 100 / RampWidthRatio) - RampWidthUpMax
#define SpeedMax 255
#define SpeedMin 15
#define SpeedMin2 SpeedMin + 10
#define work_delay 1000
#define overrun_delay work_delay + 500
#define I_max 1000 // mA
//-----------------------------------------|
//                                         |
//                Scale tuning             |
//                                         |
//-----------------------------------------|
#define Scale_coef 142

//-----------------------------------------|
//                                         |
//                defines                  |
//                                         |
//-----------------------------------------|

#define Count_360 6000
#define Coef_360 6

#define FOCUS FOCUS_BP_Read()     // PIN_IN
#define Shutter Shutter_BP_Read() // PIN_IN

#define BUFFER_SIZE (32)
#define SOFT_VERSION_MAJ 2  // MAJEURE
#define SOFT_VERSION_MIN 1 // MINEURE
#define HARD_VERSION_MAJ 2
#define HARD_VERSION_MIN 0

/* Active endpoints of USB device. */
#define USBFS_DEVICE (0u)
#define IN_EP_NUM (1u)
#define OUT_EP_NUM (2u)
/* Size of SRAM buffer to store endpoint data. */
// uint8_t length, i;
/**************************************
 *  GYRO L3GD20H
 ***************************************/
enum
{
    WHO_AM_I = 0x0F,
    CTRL1 = 0x20,
    CTRL2,
    CTRL3,
    CTRL4,
    CTRL5,
    REFERENCE,
    OUT_TEMP,
    STATUS,
    OUT_X_L,
    OUT_X_H,
    OUT_Y_L,
    OUT_Y_H,
    OUT_Z_L,
    OUT_Z_H,
    FIFO_CTRL,
    FIFO_SRC,
    IG_CFG,
    IG_SRC,
    IG_THS_XH,
    IG_THS_XL,
    IG_THS_YL,
    IG_THS_ZH,
    IG_THS_ZL,
    IG_DURATION,
    LOW_ODR
};
#define L3GD20H_ADDR 0x6b // 0xd6

#define CTRL1_INIT 0x0f // set data rate, bandwitch,power up,  enable xyz
#define CTRL2_INIT 0x00 //
#define CTRL3_INIT 0x00 //
#define CTRL4_INIT 0x20 // 2000 dps
#define CTRL5_INIT 0x00 //

#define STATUS_ZYXDA 0x08 // XYZ data available

#define buff_i2c_size 32
// uint8_t buff_i2c[buff_i2c_size];

#define timeout_i2c 100

typedef enum
{
    GYRO_STAT_INIT = 0,
    GYRO_STAT_RUN,
    GYRO_STAT_ERROR
} GYRO_STATE;

int8_t traiteCommande(uint8_t *pBufferIn, const uint8_t nbIn, uint8_t *pBufferOut, const uint8_t nbOutMax);

/*****************************************
   EXCHANGE table
*******************************************/
typedef enum
{
    USB_STAT_INIT = 0,
    USB_STAT_INIT2,
    USB_STAT_READ,
    USB_STAT_EXE,
    USB_STAT_WRITE,
} USB_STATE;
typedef enum
{
    BLE_STAT_INIT = 0,
    BLE_STAT_INIT2,
    BLE_STAT_READ,
    BLE_STAT_EXE,
    BLE_STAT_WRITE,
} BLE_STATE;

typedef enum
{
    SCALE_STAT_WAIT = 0,
    SCALE_STAT_READ,
    SCALE_STAT_FINISH
} SCALE_STATE;

typedef enum
{
    MOTOR_SPEED,
    MOTOR_ANGLE_SETUP,
    MOTOR_ANGLE_RUN,
    MOTOR_ANGLE_BRAKE,
    MOTOR_ANGLE_FINISH,
} MOTOR_STATE;

typedef enum
{
    CMD_NONE = 0,
    CMD_VERSION = 1,
    CMD_STATUS,                     //(2u)
    CMD_LIGHT_ON_OFF,               //(3u)
    CMD_SCALE_T,                    //(4u)
    CMD_SCALE_R,                    //(5u)
    CMD_ROTATION_SENS_ANGLE_MULTIP, //    (6u)
    CMD_VITESS_ROTATION,            //(7u)
    CMD_POSITIONP,                  //(8u)
    CMD_INITPP,                     //(9u)
    CMD_ADC_MOT,                    //(10u)0x0a
    CMD_GYRO,                       //(11u)0x0b
    CMD_WRITE_SERIAL1,              //(12u)0x0c
    CMD_READ_SERIAL1,               //(12u)0x0d
    CMD_WRITE_SERIAL2,              //(12u)0x0c
    CMD_READ_SERIAL2,               //(12u)0x0d
    CMD_RESET = 0xFF,
    CMD_20 = 0x20,
} CMD_STATE;

typedef enum
{
    no_order,
    usb_order,
    ble_order
} ORDER;

typedef union
{
    uint16_t w;
    uint8_t b[2];
} WORD_VAL;

typedef union
{
    int16_t w;
    uint8_t b[2];
} int16_VAL;

typedef union
{
    uint32_t dw;
    uint8_t w[2];
    uint8_t b[4];
} DWORD_VAL;

typedef enum
{
    ERROR_NO = 0x00,    //	pas d'erreur
    ERROR_CMD = 0xFF,   // cde non valide
    ERROR_MOTOR = 0x55, // pas de rotation du moteur
    ERROR_I = 0xAA,     // depassement du courant

} eError;

typedef struct
{
    union
    {
        uint8_t USB_rx[BUFFER_SIZE];
        struct
        {
            CMD_STATE cmd;
            uint8_t data[BUFFER_SIZE - 1];
        } USB_buffin;
    };
    union
    {
        uint8_t USB_tx[BUFFER_SIZE];
        struct
        {
            uint8_t cmd;
            uint8_t error;
            uint8_t data[BUFFER_SIZE - 2];
        } USB_buffout;
    };

    uint8_t BLE_rx[BUFFER_SIZE];
    uint8_t BLE_tx[BUFFER_SIZE];

    USB_STATE usb_state;
    BLE_STATE ble_state;
    SCALE_STATE scale_state;
    MOTOR_STATE motor_state;
    GYRO_STATE gyro_state;
#define timer_1ms_size 8
    union
    {
        uint32_t timer_1ms[timer_1ms_size];
        struct
        {
            uint32_t motor;
            uint32_t led_usb;
            uint32_t led_debug;
            uint32_t motor_work;
            uint32_t motor_overange;
            uint32_t bp;
            uint32_t gyro;
            uint32_t ble;
        } _1ms;
    };

    uint8_t Light;
    int32_t motor_position;
    uint32_t dist_count;
    uint32_t dist_length;

    int32_t dist_destination;
    int32_t dist_error;
    uint32_t ramp_width_up;
    uint32_t ramp_width_dn;

    uint32_t max_speed;
    uint32_t I_Mot;
    uint32_t WEIGHT;
    uint32_t WEIGHT_Tare;
    uint8_t WEIGHT_Coef;

    uint8_t speed;
    WORD_VAL Gyro_x;
    WORD_VAL Gyro_y;
    WORD_VAL Gyro_z;
    WORD_VAL Gyro_threshold;
    uint8_t Gyro_flag;
    ORDER order;
} str_exchange_table;
extern str_exchange_table exchange_table;

/********************************************
    BACKUP Table
********************************************/
// #define   BACKUP_size CY_FLASH_SIZEOF_ROW // E2PROM SIZE
#define NVM_DATA_value 0x1234
#define SERIAL_SIZE 30
typedef union
{
    uint8_t total[100];
    struct
    {
        int NVM_DATA; // 4
        uint8_t Serial_string1[SERIAL_SIZE];
        uint8_t Serial_string2[SERIAL_SIZE];
        uint8_t cw;
        uint32_t dist_shutter;
        uint8_t speed_mul;
        uint32_t ramp_width_ratio;
        uint32_t ramp_width_up_max;
    } detail;
} myunion1;
extern myunion1 BACKUP;

#endif
```

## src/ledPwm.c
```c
/*
 * Copyright (c) 2022 Libre Solar Technologies GmbH
 *
 * SPDX-License-Identifier: Apache-2.0
 */

#include <zephyr/kernel.h>
#include <zephyr/device.h>
#include <zephyr/sys/util.h>
#include <zephyr/drivers/gpio.h>
#include <zephyr/devicetree.h> // PWM
#include <errno.h>
#include <zephyr/drivers/led.h>
#include <zephyr/sys/util.h>

#include <zephyr/logging/log.h>

#include <zephyr/types.h>
#include <soc.h>
#include <dk_buttons_and_leds.h>
#include <zephyr/settings/settings.h>

#include <zephyr/drivers/pwm.h>


LOG_MODULE_REGISTER(log_ledPwm, LOG_LEVEL_INF);

// Code pour pwm

#define LED_PWM_NODE_ID DT_COMPAT_GET_ANY_STATUS_OKAY(pwm_leds)

const char *led_label[] = {
	DT_FOREACH_CHILD_SEP_VARGS(LED_PWM_NODE_ID, DT_PROP_OR, (, ), label, NULL)};

const int num_leds = ARRAY_SIZE(led_label);

K_SEM_DEFINE(led_sem, 0, 1);


#define FADE_DELAY_MS 2
#define FADE_DELAY K_MSEC(FADE_DELAY_MS)

struct {
	uint8_t value;
} l_led;

int ledSetValue(uint8_t value) {
	// entree de 0 a 255
	l_led.value = (((uint16_t)value) * 100 + 55)/ 255;
	LOG_INF("ledSetValue: USB:%d => PWM:%d%%", value, l_led.value);
	k_sem_give(&led_sem);
	return 0;
}


/**
 * @brief Run tests on a single LED using the LED API syscalls.
 *
 */
static void ledPuissance(void)
{
	int err;
	uint16_t level = 0;
	l_led.value = 0;

	const struct device *led_pwm;
	uint8_t led = 0;

	led_pwm = DEVICE_DT_GET(LED_PWM_NODE_ID);

	if (!device_is_ready(led_pwm))
	{
		LOG_ERR("Device %s is not ready", led_pwm->name);
		return;
	}

	if (!num_leds)
	{
		LOG_ERR("No LEDs found for %s", led_pwm->name);
		return;
	}

	err = led_set_brightness(led_pwm, led, level);
	if (err < 0)
	{
		LOG_ERR("err=%d brightness=%d\n", err, level);
		return;
	}
	if (l_led.value != level) {
		k_sem_give(&led_sem);
	}
	
	while (1)
	{
		if (k_sem_take(&led_sem, K_MSEC(500)) != 0) {
			/* Increase LED brightness gradually up to the level. */
			while (l_led.value != level)
			{
				if (l_led.value > level)
				{
					level++;
				}
				else
				{
					level--;
				}
				err = led_set_brightness(led_pwm, led, level);
				if (err < 0)
				{
					LOG_ERR("err=%d brightness=%d\n", err, level);
				}
				k_sleep(FADE_DELAY);
			}
		}
	}
}
/* size of stack area used by each thread */
#define STACKSIZE 1024
/* scheduling priority used by each thread */
#define PRIORITY 5

K_THREAD_DEFINE(ledPuissance_id, STACKSIZE, ledPuissance, NULL, NULL, NULL, PRIORITY, 0, 0);
```

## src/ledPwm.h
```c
#ifndef LEDPWM_H
#define LEDPWM_H

#include <stdint.h>

int ledSetValue(uint8_t value);

#endif
```

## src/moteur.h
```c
#ifndef MOTEUR_H
#define MOTEUR_H

#include <stdint.h>
#include <stdbool.h>

typedef enum {
    eSensHoraire,
    eSensAntiHoraire,
} eSensMoteur;

uint16_t moteur_getPositionDegreCentieme(void);
uint16_t moteur_getCourantMa(void);
bool moteur_getArrivePositionFin(void);
void moteur_stop(void);
int8_t moteur_setPosition(int32_t angleDegreCentieme);
int8_t moteur_setPositionSens(int32_t angleDegreCentieme, bool angleOffset, eSensMoteur sens, uint8_t coefVitesse, uint16_t coefRampe, uint16_t rampeMax);
int8_t moteur_setRotationSens(eSensMoteur sens, uint8_t coefVitesse);
int8_t moteurSave(void);

#endif
```

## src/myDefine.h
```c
 
#ifndef MYDEFINE_H 
#define MYDEFINE_H   // pour interdire la reentrance 
 
#ifndef SIZEOFTAB 
    #define SIZEOFTAB(a) (sizeof(a) / sizeof(a[0])) 
#endif 


#pragma pack(1)
typedef union
{
    int16_t i16;
    uint16_t ui16;
    struct
    {
        uint8_t ui8L;
        uint8_t ui8H;
    };
    struct
    {
        int8_t i8L;
        int8_t i8H;
    };

} str16_t;
#pragma pack()

#pragma pack(1)
typedef union
{
    int32_t i32;
    uint32_t ui32;
    struct
    {
        uint16_t ui16L;
        uint16_t ui16H;
    };
    struct
    {
        int16_t i16L;
        int16_t i16H;
    };
    struct
    {
        uint8_t ui8LL;
        uint8_t ui8LH;
        uint8_t ui8HL;
        uint8_t ui8HH;
    };
    struct
    {
        int8_t i8LL;
        int8_t i8LH;
        int8_t i8HL;
        int8_t i8HH;
    };
} str32_t;
#pragma pack()


#endif 
```

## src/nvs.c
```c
/*
 * NVS Sample for Zephyr using high level API, the sample illustrates the usage
 * of NVS for storing data of different kind (strings, binary blobs, unsigned
 * 32 bit integer) and also how to read them back from flash. The reading of
 * data is illustrated for both a basic read (latest added value) as well as
 * reading back the history of data (previously added values). Next to reading
 * and writing data it also shows how data can be deleted from flash.
 *
 * The sample stores the following items:
 * 1. A string representing an IP-address: stored at id=1, data="192.168.1.1"
 * 2. A binary blob representing a key: stored at id=2, data=FF FE FD FC FB FA
 *    F9 F8
 * 3. A reboot counter (32bit): stored at id=3, data=reboot_counter
 * 4. A string: stored at id=4, data="DATA" (used to illustrate deletion of
 * items)
 *
 * At first boot the sample checks if the data is available in flash and adds
 * the items if they are not in flash.
 *
 * Every reboot increases the values of the reboot_counter and updates it in
 * flash.
 *
 * At the 10th reboot the string item with id=4 is deleted (or marked for
 * deletion).
 *
 * At the 11th reboot the string item with id=4 can no longer be read with the
 * basic nvs_read() function as it has been deleted. It is possible to read the
 * value with nvs_read_hist()
 *
 * At the 78th reboot the first sector is full and a new sector is taken into
 * use. The data with id=1, id=2 and id=3 is copied to the new sector. As a
 * result of this the history of the reboot_counter will be removed but the
 * latest values of address, key and reboot_counter is kept.
 *
 * Copyright (c) 2018 Laczen
 *
 * SPDX-License-Identifier: Apache-2.0
 */


#include <zephyr/kernel.h>
#include <zephyr/sys/reboot.h>
#include <zephyr/device.h>
#include <string.h>
#include <zephyr/drivers/flash.h>
#include <zephyr/storage/flash_map.h>
#include <zephyr/fs/nvs.h>

static struct nvs_fs fs;

#define NVS_PARTITION		storage_partition
#define NVS_PARTITION_DEVICE	FIXED_PARTITION_DEVICE(NVS_PARTITION)
#define NVS_PARTITION_OFFSET	FIXED_PARTITION_OFFSET(NVS_PARTITION)

/* 1000 msec = 1 sec */
#define SLEEP_TIME      100
/* maximum reboot counts, make high enough to trigger sector change (buffer */
/* rotation). */
#define MAX_REBOOT 400

#define ADDRESS_ID 1
#define KEY_ID 2
#define RBT_CNT_ID 3
#define STRING_ID 4
#define LONG_ID 5

int8_t readStorage(uint8_t adresse, uint8_t *pBuffer, uint8_t size) {
	int rc = 0;
	rc = nvs_read(&fs, ADDRESS_ID, pBuffer, size);
	if (rc > 0) { /* item was found, show it */
		return size;
	}
	return -1;
}

int8_t writeStorage(uint8_t adresse, uint8_t *pBuffer, uint8_t size) {
	int rc = 0;
	rc = nvs_write(&fs, ADDRESS_ID, pBuffer, size);
	if (rc > 0) { /* item was found, show it */
		return size;
	}
	return -1;
}
volatile uint16_t cptNvs = 0;
void main_nvs(void)
{

#if 0
	int rc = 0, cnt = 0, cnt_his = 0;
	char buf[16];
	uint8_t key[8], longarray[128];
	uint32_t reboot_counter = 0U, reboot_counter_his;
	struct flash_pages_info info;

	/* define the nvs file system by settings with:
	 *	sector_size equal to the pagesize,
	 *	3 sectors
	 *	starting at NVS_PARTITION_OFFSET
	 */
	fs.flash_device = NVS_PARTITION_DEVICE;
	if (!device_is_ready(fs.flash_device)) {
		printk("Flash device %s is not ready\n", fs.flash_device->name);
		return;
	}
	fs.offset = NVS_PARTITION_OFFSET;
	rc = flash_get_page_info_by_offs(fs.flash_device, fs.offset, &info);
	if (rc) {
		printk("Unable to get page info\n");
		return;
	}
	fs.sector_size = info.size;
	fs.sector_count = 3U;

	rc = nvs_mount(&fs);
	if (rc) {
		printk("Flash Init failed\n");
		return;
	}
#endif
	while(1) {
		cptNvs++;
		k_sleep(K_MSEC(1000));
	}
#if 0
	/* ADDRESS_ID is used to store an address, lets see if we can
	 * read it from flash, since we don't know the size read the
	 * maximum possible
	 */
	rc = nvs_read(&fs, ADDRESS_ID, &buf, sizeof(buf));
	if (rc > 0) { /* item was found, show it */
		printk("Id: %d, Address: %s\n", ADDRESS_ID, buf);
	} else   {/* item was not found, add it */
		strcpy(buf, "192.168.1.1");
		printk("No address found, adding %s at id %d\n", buf,
		       ADDRESS_ID);
		(void)nvs_write(&fs, ADDRESS_ID, &buf, strlen(buf)+1);
	}
	/* KEY_ID is used to store a key, lets see if we can read it from flash
	 */
	rc = nvs_read(&fs, KEY_ID, &key, sizeof(key));
	if (rc > 0) { /* item was found, show it */
		printk("Id: %d, Key: ", KEY_ID);
		for (int n = 0; n < 8; n++) {
			printk("%x ", key[n]);
		}
		printk("\n");
	} else   {/* item was not found, add it */
		printk("No key found, adding it at id %d\n", KEY_ID);
		key[0] = 0xFF;
		key[1] = 0xFE;
		key[2] = 0xFD;
		key[3] = 0xFC;
		key[4] = 0xFB;
		key[5] = 0xFA;
		key[6] = 0xF9;
		key[7] = 0xF8;
		(void)nvs_write(&fs, KEY_ID, &key, sizeof(key));
	}
	/* RBT_CNT_ID is used to store the reboot counter, lets see
	 * if we can read it from flash
	 */
	rc = nvs_read(&fs, RBT_CNT_ID, &reboot_counter, sizeof(reboot_counter));
	if (rc > 0) { /* item was found, show it */
		printk("Id: %d, Reboot_counter: %d\n",
			RBT_CNT_ID, reboot_counter);
	} else   {/* item was not found, add it */
		printk("No Reboot counter found, adding it at id %d\n",
		       RBT_CNT_ID);
		(void)nvs_write(&fs, RBT_CNT_ID, &reboot_counter,
			  sizeof(reboot_counter));
	}
	/* STRING_ID is used to store data that will be deleted,lets see
	 * if we can read it from flash, since we don't know the size read the
	 * maximum possible
	 */
	rc = nvs_read(&fs, STRING_ID, &buf, sizeof(buf));
	if (rc > 0) {
		/* item was found, show it */
		printk("Id: %d, Data: %s\n",
			STRING_ID, buf);
		/* remove the item if reboot_counter = 10 */
		if (reboot_counter == 10U) {
			(void)nvs_delete(&fs, STRING_ID);
		}
	} else   {
		/* entry was not found, add it if reboot_counter = 0*/
		if (reboot_counter == 0U) {
			printk("Id: %d not found, adding it\n",
			STRING_ID);
			strcpy(buf, "DATA");
			(void)nvs_write(&fs, STRING_ID, &buf, strlen(buf) + 1);
		}
	}

	/* LONG_ID is used to store a larger dataset ,lets see if we can read
	 * it from flash
	 */
	rc = nvs_read(&fs, LONG_ID, &longarray, sizeof(longarray));
	if (rc > 0) {
		/* item was found, show it */
		printk("Id: %d, Longarray: ", LONG_ID);
		for (int n = 0; n < sizeof(longarray); n++) {
			printk("%x ", longarray[n]);
		}
		printk("\n");
	} else   {
		/* entry was not found, add it if reboot_counter = 0*/
		if (reboot_counter == 0U) {
			printk("Longarray not found, adding it as id %d\n",
			       LONG_ID);
			for (int n = 0; n < sizeof(longarray); n++) {
				longarray[n] = n;
			}
			(void)nvs_write(
				&fs, LONG_ID, &longarray, sizeof(longarray));
		}
	}

	cnt = 5;
	while (1) {
		k_msleep(SLEEP_TIME);
		if (reboot_counter < MAX_REBOOT) {
			if (cnt == 5) {
				/* print some history information about
				 * the reboot counter
				 * Check the counter history in flash
				 */
				printk("Reboot counter history: ");
				while (1) {
					rc = nvs_read_hist(
						&fs, RBT_CNT_ID,
						&reboot_counter_his,
						sizeof(reboot_counter_his),
						cnt_his);
					if (rc < 0) {
						break;
					}
					printk("...%d", reboot_counter_his);
					cnt_his++;
				}
				if (cnt_his == 0) {
					printk("\n Error, no Reboot counter");
				} else {
					printk("\nOldest reboot counter: %d",
					       reboot_counter_his);
				}
				printk("\nRebooting in ");
			}
			printk("...%d", cnt);
			cnt--;
			if (cnt == 0) {
				printk("\n");
				reboot_counter++;
				(void)nvs_write(
					&fs, RBT_CNT_ID, &reboot_counter,
					sizeof(reboot_counter));
				if (reboot_counter == MAX_REBOOT) {
					printk("Doing last reboot...\n");
				}
				sys_reboot(0);
			}
		} else {
			printk("Reboot counter reached max value.\n");
			printk("Reset to 0 and exit test.\n");
			reboot_counter = 0U;
			(void)nvs_write(&fs, RBT_CNT_ID, &reboot_counter,
			  sizeof(reboot_counter));
			break;
		}
	}
#endif
}
/* size of stack area used by each thread */
#define STACKSIZE 1024
/* scheduling priority used by each thread */
#define PRIORITY 2
	
K_THREAD_DEFINE(main_nvs_id, STACKSIZE, main_nvs, NULL, NULL, NULL, PRIORITY, 0, 0);
```
